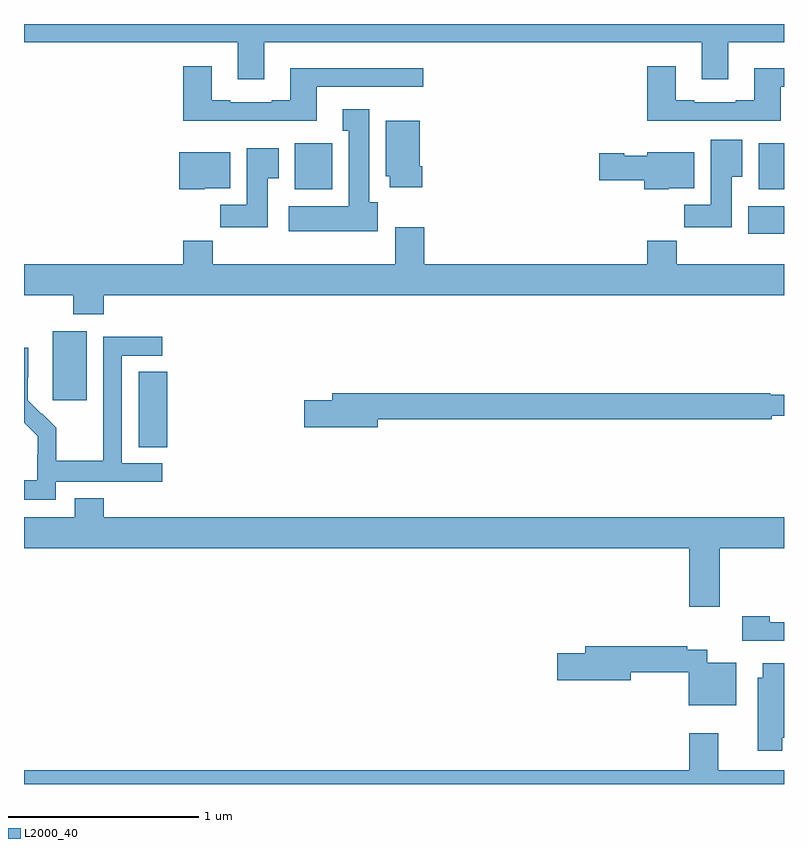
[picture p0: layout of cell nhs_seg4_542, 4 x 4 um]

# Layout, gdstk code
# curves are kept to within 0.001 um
import gdstk
lib = gdstk.Library(unit=1e-6, precision=1e-09)
def R(c, l, rs):  # rectangles x0, y0, x1, y1
    for r in rs: c.add(gdstk.rectangle(r[:2], r[2:], *l))
def P(c, l, *ps):  # polygons
    for p in ps: c.add(gdstk.Polygon(p, *l))
L2000_40 = (2000, 40)

nhs_seg4_542 = lib.new_cell('nhs_seg4_542')
R(nhs_seg4_542, L2000_40, [(137.603,810.673,137.753,811.07), (137.15,810.921,137.329,811.282), (140.813,811.796,141,811.942), (138.425,812.03,138.622,812.272), (140.867,812.03,141,812.272)])
P(nhs_seg4_542, L2000_40, [(138.265,812.804),(140.567,812.804),(140.567,812.61),(140.707,812.61),(140.707,812.804),(141,812.804),(141,812.9),(137,812.9),(137,812.804),(138.125,812.804),(138.125,812.61),(138.265,812.61)],
  [(140.519,812.391),(140.983,812.391),(140.983,812.571),(141,812.571),(141,812.668),(140.843,812.668),(140.843,812.5),(140.747,812.5),(140.747,812.487),(140.527,812.487),(140.527,812.5),(140.431,812.5),(140.431,812.677),(140.279,812.677),(140.279,812.39),(140.519,812.39)],
  [(138.541,812.571),(139.102,812.571),(139.102,812.668),(138.401,812.668),(138.401,812.5),(138.305,812.5),(138.305,812.487),(138.085,812.487),(138.085,812.5),(137.989,812.5),(137.989,812.677),(137.837,812.677),(137.837,812.39),(138.541,812.39)],
  [(138.862,811.962),(138.817,811.962),(138.817,812.452),(138.677,812.452),(138.677,812.339),(138.71,812.339),(138.71,811.942),(138.393,811.942),(138.393,811.808),(138.862,811.808)],
  [(139.097,812.152),(139.084,812.152),(139.084,812.392),(138.905,812.392),(138.905,812.1),(138.926,812.1),(138.926,812.04),(139.097,812.04)],
  [(140.725,812.096),(140.779,812.096),(140.779,812.29),(140.615,812.29),(140.615,811.948),(140.476,811.948),(140.476,811.83),(140.725,811.83)],
  [(138.283,812.089),(138.34,812.089),(138.34,812.245),(138.173,812.245),(138.173,811.948),(138.034,811.948),(138.034,811.83),(138.283,811.83)],
  [(140.394,812.036),(140.527,812.036),(140.527,812.224),(140.28,812.224),(140.28,812.206),(140.16,812.206),(140.16,812.219),(140.028,812.219),(140.028,812.077),(140.264,812.077),(140.264,812.03),(140.394,812.03)],
  [(137.952,812.036),(138.085,812.036),(138.085,812.224),(137.816,812.224),(137.816,812.03),(137.952,812.03)],
  [(137.42,811.472),(141,811.472),(141,811.636),(140.435,811.636),(140.435,811.76),(140.279,811.76),(140.279,811.636),(139.106,811.636),(139.106,811.831),(138.953,811.831),(138.953,811.636),(137.993,811.636),(137.993,811.76),(137.837,811.76),(137.837,811.636),(137,811.636),(137,811.472),(137.26,811.472),(137.26,811.373),(137.42,811.373)],
  [(137.166,810.492),(137.728,810.492),(137.728,810.588),(137.514,810.588),(137.514,811.155),(137.728,811.155),(137.728,811.254),(137.418,811.254),(137.418,810.824),(137.416,810.824),(137.416,810.601),(137.171,810.601),(137.171,810.775),(137.094,810.852),(137.091,810.849),(137.021,810.92),(137.022,811.196),(137,811.196),(137,810.802),(137.072,810.73),(137.072,810.633),(137.07,810.633),(137.07,810.499),(137,810.499),(137,810.395),(137.166,810.395)],
  [(138.862,810.82),(140.936,810.82),(140.936,810.839),(141,810.839),(141,810.949),(140.927,810.949),(140.927,810.956),(138.623,810.956),(138.623,810.92),(138.474,810.92),(138.474,810.778),(138.862,810.778)],
  [(140.661,810.14),(141,810.14),(141,810.304),(137.42,810.304),(137.42,810.403),(137.267,810.403),(137.267,810.304),(137,810.304),(137,810.14),(140.501,810.14),(140.501,809.832),(140.661,809.832)],
  [(141,809.751),(140.925,809.751),(140.925,809.784),(140.781,809.784),(140.781,809.655),(141,809.655)],
  [(140.749,809.539),(140.595,809.539),(140.595,809.607),(140.492,809.607),(140.492,809.624),(139.955,809.624),(139.955,809.588),(139.806,809.588),(139.806,809.446),(140.194,809.446),(140.194,809.488),(140.499,809.488),(140.499,809.315),(140.749,809.315)],
  [(140.991,809.144),(141,809.144),(141,809.536),(140.888,809.536),(140.888,809.46),(140.861,809.46),(140.861,809.076),(140.991,809.076)],
  [(141,808.972),(140.653,808.972),(140.653,809.167),(140.501,809.167),(140.501,808.972),(137,808.972),(137,808.9),(141,808.9)])

lib.write_gds('nhs_seg4_542.gds')
